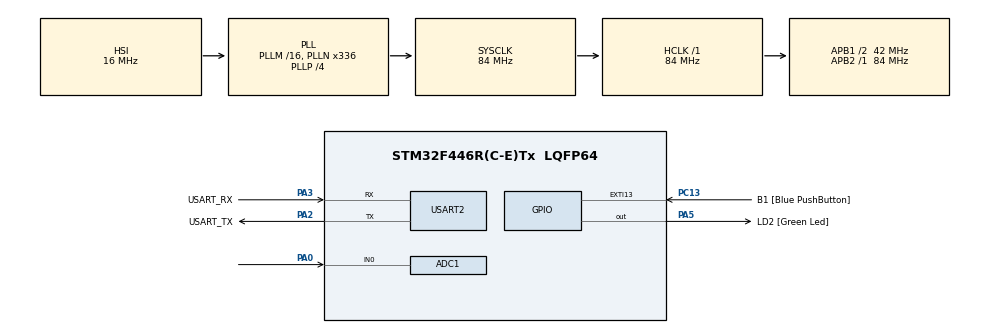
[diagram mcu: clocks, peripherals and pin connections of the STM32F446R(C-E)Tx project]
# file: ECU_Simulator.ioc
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ADC1.Channel-0\#ChannelRegularConversion=ADC_CHANNEL_0
ADC1.NbrOfConversionFlag=1
ADC1.Rank-0\#ChannelRegularConversion=1
ADC1.SamplingTime-0\#ChannelRegularConversion=ADC_SAMPLETIME_3CYCLES
ADC1.master=1
Mcu.Family=STM32F4
Mcu.Name=STM32F446R(C-E)Tx
Mcu.Package=LQFP64
NVIC.PriorityGroup=NVIC_PRIORITYGROUP_4
NVIC.TIM6_DAC_IRQn=true\:0\:0\:false\:false\:true\:false\:true\:true
NVIC.TimeBase=TIM6_DAC_IRQn
NVIC.TimeBaseIP=TIM6
NVIC.USART2_IRQn=true\:6\:0\:true\:false\:true\:true\:true\:true
PA0-WKUP.Signal=ADCx_IN0
PA13.GPIO_Label=TMS
PA13.Signal=SYS_JTMS-SWDIO
PA14.GPIO_Label=TCK
PA14.Signal=SYS_JTCK-SWCLK
PA2.GPIO_Label=USART_TX
PA2.Mode=Asynchronous
PA2.Signal=USART2_TX
PA3.GPIO_Label=USART_RX
PA3.Mode=Asynchronous
PA3.Signal=USART2_RX
PA5.GPIO_Label=LD2 [Green Led]
PA5.Signal=GPIO_Output
PB3.GPIO_Label=SWO
PB3.Signal=SYS_JTDO-SWO
PC13.GPIO_Label=B1 [Blue PushButton]
PC13.GPIO_ModeDefaultEXTI=GPIO_MODE_IT_FALLING
PC13.Signal=GPXTI13
PC14-OSC32_IN.Signal=RCC_OSC32_IN
PC15-OSC32_OUT.Signal=RCC_OSC32_OUT
PH0-OSC_IN.Signal=RCC_OSC_IN
PH1-OSC_OUT.Signal=RCC_OSC_OUT
ProjectManager.HeapSize=0x200
ProjectManager.StackSize=0x400
ProjectManager.TargetToolchain=STM32CubeIDE
RCC.AHBFreq_Value=84000000
RCC.APB1CLKDivider=RCC_HCLK_DIV2
RCC.APB1Freq_Value=42000000
RCC.APB1TimFreq_Value=84000000
RCC.APB2Freq_Value=84000000
RCC.APB2TimFreq_Value=84000000
RCC.CortexFreq_Value=84000000
RCC.FLatency-AdvancedSettings=FLASH_LATENCY_2
RCC.HCLKFreq_Value=84000000
RCC.HSE_VALUE=8000000
RCC.HSI_VALUE=16000000
RCC.LSE_VALUE=32768
RCC.PLLN=336
RCC.PLLP=RCC_PLLP_DIV4
RCC.SYSCLKFreq_VALUE=84000000
RCC.SYSCLKSource=RCC_SYSCLKSOURCE_PLLCLK
RCC.USBFreq_Value=168000000
RCC.VCOOutputFreq_Value=336000000
SH.ADCx_IN0.0=ADC1_IN0,IN0
USART2.VirtualMode=VM_ASYNC
VP_SYS_VS_tim6.Mode=TIM6
board=NUCLEO-F446RE

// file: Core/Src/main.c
/* USER CODE BEGIN Header */
/**
  ******************************************************************************
  * @file           : main.c
  * @brief          : Main program body
  ******************************************************************************
  * @attention
  *
  * Copyright (c) 2025 STMicroelectronics.
  * All rights reserved.
  *
  * This software is licensed under terms that can be found in the LICENSE file
  * in the root directory of this software component.
  * If no LICENSE file comes with this software, it is provided AS-IS.
  *
  ******************************************************************************
  */
/* USER CODE END Header */
#include "main.h"

ADC_HandleTypeDef hadc1;

UART_HandleTypeDef huart2;

/* USER CODE BEGIN PV */
#define DWT_CTRL		(*(volatile uint32_t *)0xE0001000)

TaskHandle_t ledTaskHandle;
TaskHandle_t sensorTaskHandle;
TaskHandle_t aesTaskHandle;
TaskHandle_t uartTaskHandle; // Print task handle
TaskHandle_t menuTaskHandle;

QueueHandle_t ledQueue;
QueueHandle_t sensorQueue;
QueueHandle_t aesQueue;
QueueHandle_t uartQueue;
QueueHandle_t menuQueue;

char rxChar;
//#define CMD_MAX_LEN 64

//typedef struct {
//    char text[CMD_MAX_LEN];
//} CommandMessage;
//
//typedef struct {
//    char text[128];
//} PrintMessage;
//
//typedef enum {
//    MENU_MAIN,
//    MENU_LED,
//    MENU_AES,
//	MENU_AES_INPUT_ENC,  // New state for AES encryption input
//	MENU_AES_INPUT_DEC   // New state for AES decryption input
//} MenuState;

char uartBuffer[CMD_MAX_LEN];
uint8_t uartIndex = 0;

/* USER CODE END PV */

void SystemClock_Config(void);
static void MX_GPIO_Init(void);
static void MX_ADC1_Init(void);
static void MX_USART2_UART_Init(void);
/* USER CODE BEGIN PFP */

void vTaskLED(void *pvParameters);
void vTaskSensor(void *pvParameters);
void vTaskAES(void *pvParameters);
void vTaskUART(void *pvParameters);
void vTaskMenu(void *pvParameters);

/* USER CODE END PFP */

int main(void)
{

  /* USER CODE BEGIN 1 */
	BaseType_t status;
  /* USER CODE END 1 */

  /* MCU Configuration--------------------------------------------------------*/

  /* Reset of all peripherals, Initializes the Flash interface and the Systick. */
  HAL_Init();

  /* Configure the system clock */
  SystemClock_Config();

  /* Initialize all configured peripherals */
  MX_GPIO_Init();
  MX_ADC1_Init();
  MX_USART2_UART_Init();
  /* USER CODE BEGIN 2 */

  // Create separate queues
  ledQueue    = xQueueCreate(5, sizeof(CommandMessage));
  sensorQueue = xQueueCreate(5, sizeof(CommandMessage));
  aesQueue    = xQueueCreate(5, sizeof(CommandMessage));
  uartQueue   = xQueueCreate(10, sizeof(PrintMessage));
  menuQueue = xQueueCreate(10, sizeof(CommandMessage));

  configASSERT(ledQueue && sensorQueue && aesQueue && uartQueue && menuQueue);

  // Start UART reception
  HAL_UART_Receive_IT(&huart2, (uint8_t *)&rxChar, 1);

  // Task Creation
  status = xTaskCreate(vTaskLED, 	"LED", 	128, NULL, 2, &ledTaskHandle);
  configASSERT(status == pdPASS);

  status = xTaskCreate(vTaskSensor, 	"SENSOR", 256, NULL, 1, &sensorTaskHandle);
  configASSERT(status == pdPASS);

  status = xTaskCreate(vTaskAES, 	"AES", 	256, NULL, 3, &aesTaskHandle);
  configASSERT(status == pdPASS);

  status = xTaskCreate(vTaskUART, 	"UART", 	128, NULL, 2, &uartTaskHandle);
  configASSERT(status == pdPASS);

  status = xTaskCreate(vTaskMenu, 	"MENU", 	256, NULL, 1, &menuTaskHandle);
  configASSERT(status == pdPASS);

  // Start FreeRTOS Scheduler
  vTaskStartScheduler();

  /* USER CODE END 2 */

  /* Infinite loop */
  while (1)
  {

  }
}

void SystemClock_Config(void)
{
  RCC_OscInitTypeDef RCC_OscInitStruct = {0};
  RCC_ClkInitTypeDef RCC_ClkInitStruct = {0};

  /** Configure the main internal regulator output voltage
  */
  __HAL_RCC_PWR_CLK_ENABLE();
  __HAL_PWR_VOLTAGESCALING_CONFIG(PWR_REGULATOR_VOLTAGE_SCALE3);

  /** Initializes the RCC Oscillators according to the specified parameters
  * in the RCC_OscInitTypeDef structure.
  */
  RCC_OscInitStruct.OscillatorType = RCC_OSCILLATORTYPE_HSI;
  RCC_OscInitStruct.HSIState = RCC_HSI_ON;
  RCC_OscInitStruct.HSICalibrationValue = RCC_HSICALIBRATION_DEFAULT;
  RCC_OscInitStruct.PLL.PLLState = RCC_PLL_ON;
  RCC_OscInitStruct.PLL.PLLSource = RCC_PLLSOURCE_HSI;
  RCC_OscInitStruct.PLL.PLLM = 16;
  RCC_OscInitStruct.PLL.PLLN = 336;
  RCC_OscInitStruct.PLL.PLLP = RCC_PLLP_DIV4;
  RCC_OscInitStruct.PLL.PLLQ = 2;
  RCC_OscInitStruct.PLL.PLLR = 2;
  if (HAL_RCC_OscConfig(&RCC_OscInitStruct) != HAL_OK)
  {
    Error_Handler();
  }

  /** Initializes the CPU, AHB and APB buses clocks
  */
  RCC_ClkInitStruct.ClockType = RCC_CLOCKTYPE_HCLK|RCC_CLOCKTYPE_SYSCLK
                              |RCC_CLOCKTYPE_PCLK1|RCC_CLOCKTYPE_PCLK2;
  RCC_ClkInitStruct.SYSCLKSource = RCC_SYSCLKSOURCE_PLLCLK;
  RCC_ClkInitStruct.AHBCLKDivider = RCC_SYSCLK_DIV1;
  RCC_ClkInitStruct.APB1CLKDivider = RCC_HCLK_DIV2;
  RCC_ClkInitStruct.APB2CLKDivider = RCC_HCLK_DIV1;

  if (HAL_RCC_ClockConfig(&RCC_ClkInitStruct, FLASH_LATENCY_2) != HAL_OK)
  {
    Error_Handler();
  }
}

static void MX_ADC1_Init(void)
{

  ADC_ChannelConfTypeDef sConfig = {0};

  /** Configure the global features of the ADC (Clock, Resolution, Data Alignment and number of conversion)
  */
  hadc1.Instance = ADC1;
  hadc1.Init.ClockPrescaler = ADC_CLOCK_SYNC_PCLK_DIV4;
  hadc1.Init.Resolution = ADC_RESOLUTION_12B;
  hadc1.Init.ScanConvMode = DISABLE;
  hadc1.Init.ContinuousConvMode = DISABLE;
  hadc1.Init.DiscontinuousConvMode = DISABLE;
  hadc1.Init.ExternalTrigConvEdge = ADC_EXTERNALTRIGCONVEDGE_NONE;
  hadc1.Init.ExternalTrigConv = ADC_SOFTWARE_START;
  hadc1.Init.DataAlign = ADC_DATAALIGN_RIGHT;
  hadc1.Init.NbrOfConversion = 1;
  hadc1.Init.DMAContinuousRequests = DISABLE;
  hadc1.Init.EOCSelection = ADC_EOC_SINGLE_CONV;
  if (HAL_ADC_Init(&hadc1) != HAL_OK)
  {
    Error_Handler();
  }

  /** Configure for the selected ADC regular channel its corresponding rank in the sequencer and its sample time.
  */
  sConfig.Channel = ADC_CHANNEL_0;
  sConfig.Rank = 1;
  sConfig.SamplingTime = ADC_SAMPLETIME_3CYCLES;
  if (HAL_ADC_ConfigChannel(&hadc1, &sConfig) != HAL_OK)
  {
    Error_Handler();
  }

}

static void MX_USART2_UART_Init(void)
{

  huart2.Instance = USART2;
  huart2.Init.BaudRate = 115200;
  huart2.Init.WordLength = UART_WORDLENGTH_8B;
  huart2.Init.StopBits = UART_STOPBITS_1;
  huart2.Init.Parity = UART_PARITY_NONE;
  huart2.Init.Mode = UART_MODE_TX_RX;
  huart2.Init.HwFlowCtl = UART_HWCONTROL_NONE;
  huart2.Init.OverSampling = UART_OVERSAMPLING_16;
  if (HAL_UART_Init(&huart2) != HAL_OK)
  {
    Error_Handler();
  }

}

static void MX_GPIO_Init(void)
{
  GPIO_InitTypeDef GPIO_InitStruct = {0};

  /* GPIO Ports Clock Enable */
  __HAL_RCC_GPIOC_CLK_ENABLE();
  __HAL_RCC_GPIOH_CLK_ENABLE();
  __HAL_RCC_GPIOA_CLK_ENABLE();
  __HAL_RCC_GPIOB_CLK_ENABLE();

  /*Configure GPIO pin Output Level */
  HAL_GPIO_WritePin(LD2_GPIO_Port, LD2_Pin, GPIO_PIN_RESET);

  /*Configure GPIO pin : B1_Pin */
  GPIO_InitStruct.Pin = B1_Pin;
  GPIO_InitStruct.Mode = GPIO_MODE_IT_FALLING;
  GPIO_InitStruct.Pull = GPIO_NOPULL;
  HAL_GPIO_Init(B1_GPIO_Port, &GPIO_InitStruct);

  /*Configure GPIO pin : LD2_Pin */
  GPIO_InitStruct.Pin = LD2_Pin;
  GPIO_InitStruct.Mode = GPIO_MODE_OUTPUT_PP;
  GPIO_InitStruct.Pull = GPIO_NOPULL;
  GPIO_InitStruct.Speed = GPIO_SPEED_FREQ_LOW;
  HAL_GPIO_Init(LD2_GPIO_Port, &GPIO_InitStruct);

}

/* USER CODE BEGIN 4 */

void HAL_UART_RxCpltCallback(UART_HandleTypeDef *huart)
{
    BaseType_t xHigherPriorityTaskWoken = pdFALSE;
    if(huart->Instance == USART2)
    {
        if(rxChar == '\r' || rxChar == '\n')
        {
            if(uartIndex > 0)
            {
                uartBuffer[uartIndex] = '\0';
                CommandMessage msg;
                strncpy(msg.text, uartBuffer, CMD_MAX_LEN);

                // Send all user input to menuQueue
                xQueueSendFromISR(menuQueue, &msg, &xHigherPriorityTaskWoken);

                uartIndex = 0;
            }
        }
        else if(uartIndex < CMD_MAX_LEN-1)
        {
            uartBuffer[uartIndex++] = rxChar;
        }

        HAL_UART_Receive_IT(&huart2, (uint8_t*)&rxChar, 1);
        portYIELD_FROM_ISR(xHigherPriorityTaskWoken);
    }
}

/* USER CODE END 4 */

void HAL_TIM_PeriodElapsedCallback(TIM_HandleTypeDef *htim)
{
  if (htim->Instance == TIM6)
  {
    HAL_IncTick();
  }
}

void Error_Handler(void)
{
  __disable_irq();
  while (1)
  {
  }
}
